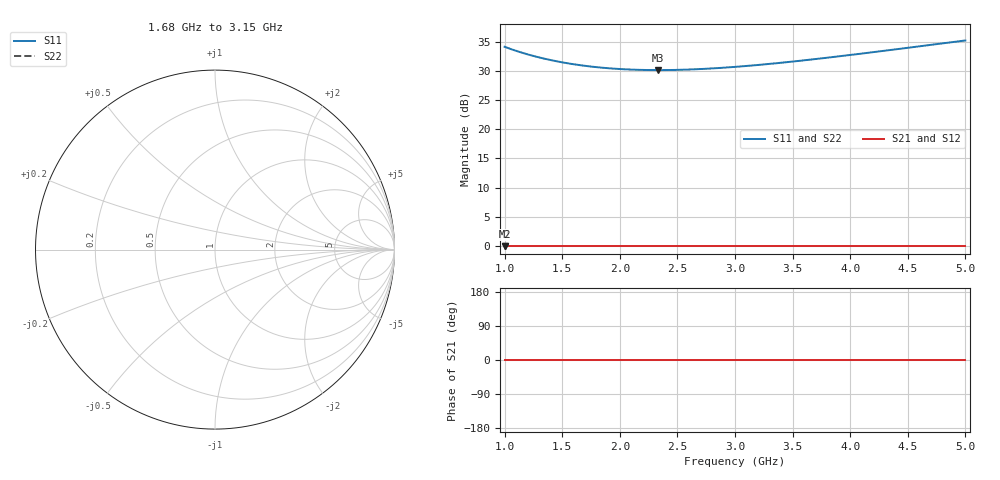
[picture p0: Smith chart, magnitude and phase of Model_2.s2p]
# GHZ S RI R 50
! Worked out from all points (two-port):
!   401 points, 1 GHz to 5 GHz, reference 50 ohm
!   highest |S21| = 0.00 dB at 1 GHz (marker M1); lowest = 0.0 dB at 1 GHz (marker M2)
!   |S21| within 3 dB of the highest: start of sweep to end of sweep
!   lowest |S11| = 30.1 dB at 2.33 GHz (marker M3)
!   |S11| at or under -10 dB: nowhere
!   |S22| runs from 30.1 to 35.2 dB; largest |S21 - S12| = 0
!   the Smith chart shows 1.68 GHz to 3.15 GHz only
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1  50.76 0  1 0  1 0  50.76 0
1.15  45.21 0  1 0  1 0  45.21 0
1.22  43.17 0  1 0  1 0  43.17 0
1.3  41.17 0  1 0  1 0  41.17 0
1.38  39.46 0  1 0  1 0  39.46 0
1.47  37.85 0  1 0  1 0  37.85 0
1.57  36.37 0  1 0  1 0  36.37 0
1.67  35.17 0  1 0  1 0  35.17 0
1.82  33.82 0  1 0  1 0  33.82 0
1.98  32.85 0  1 0  1 0  32.85 0
2.15  32.27 0  1 0  1 0  32.27 0
2.33  32.07 0  1 0  1 0  32.07 0
2.34  32.07 0  1 0  1 0  32.07 0
2.5  32.22 0  1 0  1 0  32.22 0
2.66  32.61 0  1 0  1 0  32.61 0
3  34.17 0  1 0  1 0  34.17 0
3.33  36.48 0  1 0  1 0  36.48 0
3.67  39.58 0  1 0  1 0  39.58 0
4  43.21 0  1 0  1 0  43.21 0
4.34  47.53 0  1 0  1 0  47.53 0
4.63  51.67 0  1 0  1 0  51.67 0
5  57.52 0  1 0  1 0  57.52 0
